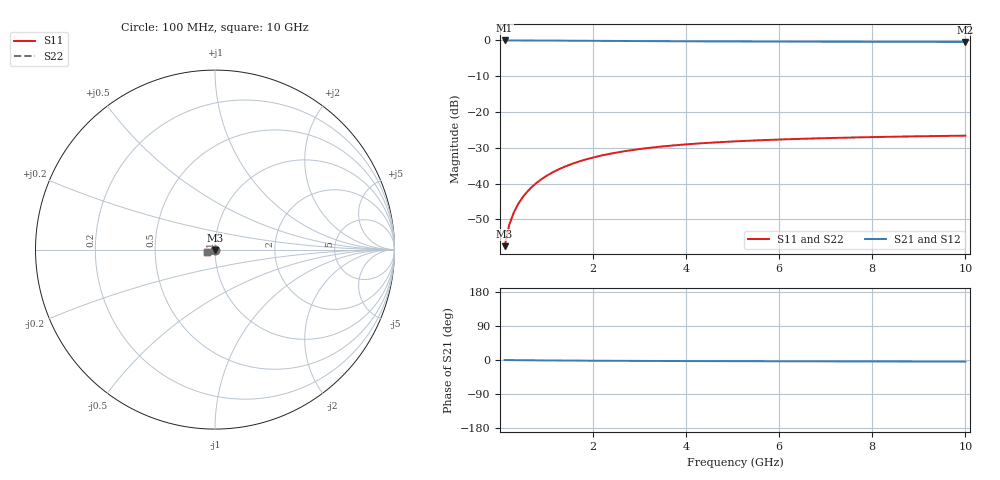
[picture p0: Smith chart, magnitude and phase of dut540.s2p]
! Touchstone file exported from HFSS 2024.1.0
!  File:  C:/UserFiles/LocalFiles/RDL_TSV_Batchsim/temp_TSV1_540_1779705344.aedt
!  Generated:  06:41:42 PM May 25, 2026
!  Design:  TSV1
!  Project:  temp_TSV1_540_1779705344
!  Setup:  Setup1
!  Solution:  Sweep
! Variables:
!  dtsv = 13.33um
!  hbump = 3um
!  htsv = 64.45um
!  lrdl = 252.1521522um
!  p = 40
!  p1 = 49.43um
!  t = 500um
!  trdl = 3um
!  wrdl = 24.89489489um
# GHz S MA R 50.000000
! Terminal data exported
! Port[1] = TSV22_T1
! Port[2] = TSV22_T2
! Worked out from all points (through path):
!   100 points, 100 MHz to 10 GHz, reference 50 ohm
!   highest |S21| = 0.00 dB at 100 MHz (marker M1); lowest = -0.4 dB at 10 GHz (marker M2)
!   lowest |S11| = -57.5 dB at 100 MHz (marker M3), VSWR 1.00, Z = 50 - j0.133 ohm
!   |S11| at or under -10 dB: start of sweep to end of sweep
!   |S22| runs from -57.5 to -26.6 dB; largest |S21 - S12| = 3e-15
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0.1  0.00133 -88.4  0.9999 -0.1  0.9999 -0.1  0.00133 -88.4
! Gamma 0 0 0 0
! Port Impedance 50 0 50 0
0.2  0.002654 -91.8  0.9998 -0.2  0.9998 -0.2  0.002654 -91.8
0.3  0.003972 -94.0  0.9995 -0.3  0.9995 -0.3  0.003972 -94.0
0.4  0.005281 -96.0  0.9993 -0.5  0.9993 -0.5  0.005281 -96.0
0.5  0.006578 -97.9  0.9989 -0.6  0.9989 -0.6  0.006578 -97.9
0.6  0.00786 -99.6  0.9985 -0.7  0.9985 -0.7  0.00786 -99.6
0.7  0.009123 -101.4  0.998 -0.8  0.998 -0.8  0.009123 -101.4
0.8  0.01037 -103.0  0.9974 -0.9  0.9974 -0.9  0.01037 -103.0
0.9  0.01159 -104.7  0.9968 -1.0  0.9968 -1.0  0.01159 -104.7
1.1  0.01395 -107.9  0.9954 -1.2  0.9954 -1.2  0.01395 -107.9
1.4  0.01728 -112.4  0.9931 -1.4  0.9931 -1.4  0.01728 -112.4
1.6  0.01934 -115.2  0.9915 -1.6  0.9915 -1.6  0.01934 -115.2
1.8  0.02127 -117.9  0.9898 -1.7  0.9898 -1.7  0.02127 -117.9
2.1  0.02393 -121.8  0.9872 -1.9  0.9872 -1.9  0.02393 -121.8
2.5  0.02704 -126.4  0.9838 -2.2  0.9838 -2.2  0.02704 -126.4
2.9  0.02971 -130.6  0.9806 -2.4  0.9806 -2.4  0.02971 -130.6
3.4  0.03251 -135.1  0.977 -2.6  0.977 -2.6  0.03251 -135.1
4.2  0.03602 -141.3  0.9719 -2.8  0.9719 -2.8  0.03602 -141.3
5.1  0.03896 -146.9  0.9673 -3.1  0.9673 -3.1  0.03896 -146.9
6.7  0.04255 -154.5  0.9613 -3.5  0.9613 -3.5  0.04255 -154.5
8.4  0.04505 -160.7  0.9571 -3.9  0.9571 -3.9  0.04505 -160.7
10  0.04666 -165.4  0.9543 -4.3  0.9543 -4.3  0.04666 -165.4
